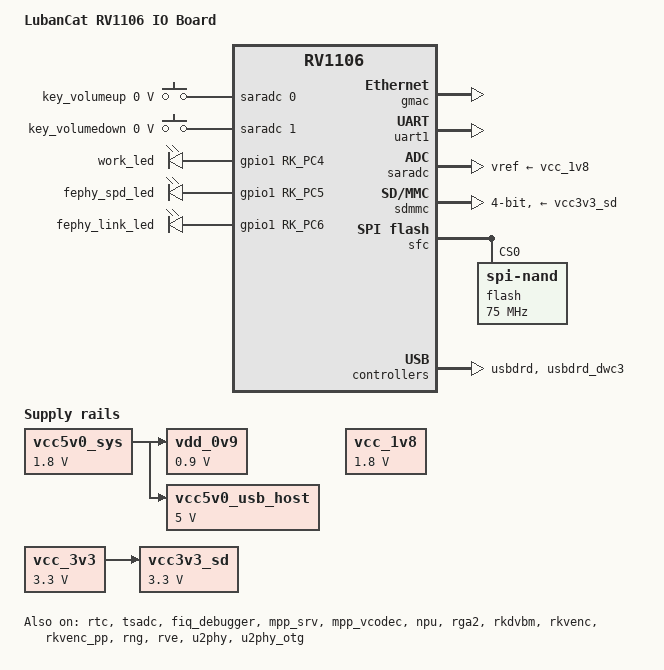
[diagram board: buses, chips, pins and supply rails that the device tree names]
// SPDX-License-Identifier: (GPL-2.0+ OR MIT)
/*
 * Copyright (c) 2022 Rockchip Electronics Co., Ltd.
 */

/dts-v1/;

#include "rv1106.dtsi"

#include <dt-bindings/input/input.h>
#include <dt-bindings/display/media-bus-format.h>

/ {
    model = "LubanCat RV1106 IO Board";
	compatible = "embedfire,rv1106g-lubancat-rv", "rockchip,rv1106";

	chosen {
		bootargs = "earlycon=uart8250,mmio32,0xff4c0000 console=ttyFIQ0 root=/dev/mmcblk0p5 rootfstype=ext4 rootwait snd_soc_core.prealloc_buffer_size_kbytes=16 coherent_pool=0 net.ifnames=0 biosdevname=0";
	};

	/*//NEW
	panel: panel {
		compatible = "simple-panel";
		status = "okay";

		bus-format = <MEDIA_BUS_FMT_RGB666_1X18>;
		width-mm = <85>;
		height-mm = <85>;

		display-timings {
			native-mode = <&timing0>;

			timing0: timing0 {
				clock-frequency = <30000000>;
				hactive = <720>;
				vactive = <720>;
				hback-porch = <44>;
				hfront-porch = <46>;
				vback-porch = <18>;
				vfront-porch = <16>;
				hsync-len = <2>;
				vsync-len = <2>;
				hsync-active = <0>;
				vsync-active = <0>;
				de-active = <0>;
				pixelclk-active = <0>;
			};
		};

		port {
			panel_in_rgb: endpoint {
				remote-endpoint = <&rgb_out_panel>;
			};
		};
	};

	reserved_memory: reserved-memory {
		status = "okay";
		#address-cells = <1>;
		#size-cells = <1>;
		ranges;
		drm_logo: drm-logo@00000000 {
			compatible = "rockchip,drm-logo";
			reg = <0x0 0x0>;
		};
		linux,cma {
			status = "okay";
			compatible = "shared-dma-pool";
			inactive;
			reusable;
			size = <0xA00000>; //10M
			linux,cma-default;
		};
		mmc_ecsd: mmc@3f000 {
			reg = <0x3f000 0x00001000>;
		};
	};*/

	//OLD
	/*acodec_sound: acodec-sound {
		compatible = "simple-audio-card";
		simple-audio-card,name = "rv1106-acodec";
		simple-audio-card,format = "i2s";
		simple-audio-card,mclk-fs = <256>;
		simple-audio-card,cpu {
			sound-dai = <&i2s0_8ch>;
		};
		simple-audio-card,codec {
			sound-dai = <&acodec>;
		};
	};*/

	/* new
	dsm_sound: dsm-sound {
		status = "disabled";
		compatible = "simple-audio-card";
		simple-audio-card,format = "i2s";
		simple-audio-card,mclk-fs = <256>;
		simple-audio-card,name = "rockchip,dsm-sound";
		simple-audio-card,bitclock-master = <&sndcodec>;
		simple-audio-card,frame-master = <&sndcodec>;
		sndcpu: simple-audio-card,cpu {
			sound-dai = <&i2s0_8ch>;
		};
		sndcodec: simple-audio-card,codec {
			sound-dai = <&dsm>;
		};
	};
	*/

	restart-poweroff {
		compatible = "restart-poweroff";
	};

/*
//NEW
	sdio_pwrseq: sdio-pwrseq {
		compatible = "mmc-pwrseq-simple";
		pinctrl-names = "default";
		reset-gpios = <&gpio1 RK_PA2 GPIO_ACTIVE_LOW>;
	};

	wireless_bluetooth: wireless-bluetooth {
		compatible = "bluetooth-platdata";
		uart_rts_gpios = <&gpio0 RK_PA5 GPIO_ACTIVE_LOW>;
		pinctrl-names = "default", "rts_gpio";
		pinctrl-0 = <&uart1m0_rtsn>;
		pinctrl-1 = <&uart1_gpios>;
		BT,wake_gpio     = <&gpio0 RK_PA2 GPIO_ACTIVE_HIGH>;
		BT,wake_host_irq = <&gpio1 RK_PA2 GPIO_ACTIVE_HIGH>;
		status = "okay";
	};
*/
//FIXME:
	recovery-key {
		compatible = "adc-keys";
		io-channels = <&saradc 0>;
		io-channel-names = "buttons";
		poll-interval = <100>;
		keyup-threshold-microvolt = <1800000>;

		key {
			label = "key_volumeup";
			linux,code = <KEY_VOLUMEUP>;
			press-threshold-microvolt = <0>;
		};
	};

	adc-key {
		compatible = "adc-keys";
		io-channels = <&saradc 1>;
		io-channel-names = "buttons";
		poll-interval = <100>;
		keyup-threshold-microvolt = <1800000>;

		key {
			label = "key_volumedown";
			linux,code = <KEY_VOLUMEDOWN>;
			press-threshold-microvolt = <0>;
		};
	};
//

	leds: leds {
		status = "okay";
		compatible = "gpio-leds";

		work_led: work{//new
			label = "work_led"; //my
			linux,default-trigger = "activity";
			default-state = "on";
			gpios = <&gpio1 RK_PC4 GPIO_ACTIVE_HIGH>; //green
		};

		/*sys_led: sys-led {
			label = "sys_led"; 
			linux,default-trigger = "heartbeat";
			default-state = "on";
			//gpios = <&gpio5 4 GPIO_ACTIVE_HIGH>;
			gpios = <&gpio1 RK_PC3 GPIO_ACTIVE_HIGH>; //orange
		};*/

		fephy_spd_led: fephy-spd-led {
			label = "fephy_spd_led";
			linux,default-trigger = "netdev";
			default-state = "off";
			//gpios = <&gpio3 RK_PC5 GPIO_ACTIVE_HIGH>;
			gpios = <&gpio1 RK_PC5 GPIO_ACTIVE_HIGH>;
		};

		fephy_link_led: fephy-link-led {
			label = "fephy_link_led";
			linux,default-trigger = "netdev";
			default-state = "off";
			//gpios = <&gpio3 RK_PD3 GPIO_ACTIVE_HIGH>;
			gpios = <&gpio1 RK_PC6 GPIO_ACTIVE_HIGH>;
		};
	};

	//NEW
	/*
	leds: leds {
		compatible = "gpio-leds";
		work_led: work{
			gpios = <&gpio3 RK_PC6 GPIO_ACTIVE_HIGH>;
			linux,default-trigger = "activity";
			default-state = "on";
		};
	};*/

	/*backlight: backlight {
		status = "okay";
		compatible = "pwm-backlight";
		pwms = <&pwm0 0 50000 0>;
		brightness-levels = <
			  0   1   2   3   4   5   6   7
			  8   9  10  11  12  13  14  15
			 16  17  18  19  20  21  22  23
			 24  25  26  27  28  29  30  31
			 32  33  34  35  36  37  38  39
			 40  41  42  43  44  45  46  47
			 48  49  50  51  52  53  54  55
			 56  57  58  59  60  61  62  63
			 64  65  66  67  68  69  70  71
			 72  73  74  75  76  77  78  79
			 80  81  82  83  84  85  86  87
			 88  89  90  91  92  93  94  95
			 96  97  98  99 100 101 102 103
			104 105 106 107 108 109 110 111
			112 113 114 115 116 117 118 119
			120 121 122 123 124 125 126 127
			128 129 130 131 132 133 134 135
			136 137 138 139 140 141 142 143
			144 145 146 147 148 149 150 151
			152 153 154 155 156 157 158 159
			160 161 162 163 164 165 166 167
			168 169 170 171 172 173 174 175
			176 177 178 179 180 181 182 183
			184 185 186 187 188 189 190 191
			192 193 194 195 196 197 198 199
			200 201 202 203 204 205 206 207
			208 209 210 211 212 213 214 215
			216 217 218 219 220 221 222 223
			224 225 226 227 228 229 230 231
			232 233 234 235 236 237 238 239
			240 241 242 243 244 245 246 247
			248 249 250 251 252 253 254 255>;
		default-brightness-level = <255>;
	};*/

	/*reserved-memory {
		#address-cells = <1>;
		#size-cells = <1>;
		ranges;

		linux,cma {
			compatible = "shared-dma-pool";
			inactive;
			reusable;
			size = <0x1000000>;
			linux,cma-default;
		};

		drm_logo: drm-logo@00000000 {
			compatible = "rockchip,drm-logo";
			reg = <0x0 0x0>;
		};
	};*/

	vdd_0v9: vdd-0v9 {
		compatible = "regulator-fixed";
		regulator-name = "vdd_0v9";
		regulator-always-on;
		regulator-boot-on;
		regulator-min-microvolt = <900000>;
		regulator-max-microvolt = <900000>;
		vin-supply = <&vcc5v0_sys>;
	};

	vcc5v0_sys: vcc5v0-sys {
		compatible = "regulator-fixed";
		regulator-name = "vcc5v0_sys";
		regulator-always-on;
		regulator-boot-on;
		regulator-min-microvolt = <1800000>;
		regulator-max-microvolt = <1800000>;
	};

	vcc_1v8: vcc-1v8 {
		compatible = "regulator-fixed";
		regulator-name = "vcc_1v8";
		regulator-always-on;
		regulator-boot-on;
		regulator-min-microvolt = <1800000>;
		regulator-max-microvolt = <1800000>;
	};

	vcc_3v3: vcc-3v3 {
		compatible = "regulator-fixed";
		regulator-name = "vcc_3v3";
		regulator-always-on;
		regulator-boot-on;
		regulator-min-microvolt = <3300000>;
		regulator-max-microvolt = <3300000>;
	};

	vcc3v3_sd: vcc3v3-sd {
		compatible = "regulator-fixed";
		regulator-name = "vcc3v3_sd";
		regulator-always-on;
		regulator-boot-on;
		regulator-min-microvolt = <3300000>;
		regulator-max-microvolt = <3300000>;
		vin-supply = <&vcc_3v3>;
	};

	vcc5v0_usb_host: vcc5v0-usb-host {
		compatible = "regulator-fixed";
		regulator-name = "vcc5v0_usb_host";
		regulator-always-on;
		enable-active-high;
		regulator-boot-on;
		regulator-min-microvolt = <5000000>;
		regulator-max-microvolt = <5000000>;
		//gpio = <&gpio5 6 GPIO_ACTIVE_HIGH>;OLD
		vin-supply = <&vcc5v0_sys>;
	};

	/*vcc_lcd: vcc-lcd {
		compatible = "regulator-fixed";
		regulator-name = "vcc_lcd";
		regulator-always-on;
		enable-active-high;
		regulator-boot-on;
		regulator-min-microvolt = <5000000>;
		regulator-max-microvolt = <5000000>;
		gpio = <&gpio0 RK_PA6 GPIO_ACTIVE_HIGH>;
		vin-supply = <&vcc5v0_sys>;
	};*/

	/*vcc_cam0: vcc-cam0 {
		compatible = "regulator-fixed";
		regulator-name = "vcc_cam0";
		regulator-always-on;
		enable-active-high;
		regulator-boot-on;
		regulator-min-microvolt = <5000000>;
		regulator-max-microvolt = <5000000>;
		gpio = <&gpio3 RK_PC4 GPIO_ACTIVE_HIGH>;
		vin-supply = <&vcc5v0_sys>;
	};

	vcc_cam1: vcc-cam1 {
		compatible = "regulator-fixed";
		regulator-name = "vcc_cam1";
		regulator-always-on;
		enable-active-high;
		regulator-boot-on;
		regulator-min-microvolt = <5000000>;
		regulator-max-microvolt = <5000000>;
		gpio = <&gpio3 RK_PC6 GPIO_ACTIVE_HIGH>;
		vin-supply = <&vcc5v0_sys>;
	};	*/

	/*wifi_usb: wifi-usb {
		compatible = "regulator-fixed";
		regulator-name = "wifi_usb";
		regulator-always-on;
		enable-active-low;
		regulator-min-microvolt = <3300000>;
		regulator-max-microvolt = <3300000>;	
		gpio = <&gpio5 5 GPIO_ACTIVE_LOW>;
	};*/

	/*wireless_wlan: wireless-wlan {
		compatible = "wlan-platdata";
		wifi_chip_type = "AIC8800DC";
		status = "okay";
	};*/

};

/**********CRU**********/
//new
//&cru {
//	assigned-clocks =
//		<&cru PLL_GPLL>, <&cru PLL_CPLL>,
//		<&cru ARMCLK>,
//		<&cru ACLK_PERI_ROOT>, <&cru HCLK_PERI_ROOT>,
//		<&cru PCLK_PERI_ROOT>, <&cru ACLK_BUS_ROOT>,
//		<&cru PCLK_TOP_ROOT>, <&cru PCLK_PMU_ROOT>,
//		<&cru HCLK_PMU_ROOT>, <&cru CLK_500M_SRC>;
//	assigned-clock-rates =
//		<1188000000>, <700000000>,
//		<1104000000>,
//		<400000000>, <200000000>,
//		<100000000>, <300000000>,
//		<100000000>, <100000000>,
//		<200000000>, <700000000>;
//};


/**********EMMC**********/
//NEW
/*&emmc {
	bus-width = <8>;
	cap-mmc-highspeed;
	non-removable;
	// mmc-hs200-1_8v;
	rockchip,default-sample-phase = <90>;
	no-sdio;
	no-sd;
	memory-region-ecsd = <&mmc_ecsd>;
	post-power-on-delay-ms = <0>;
	status = "okay";
};

&fiq_debugger {
	rockchip,irq-mode-enable = <1>;
	status = "okay";
};
*/


/***************************** audio ********************************/
/*OLD
&i2s0_8ch {
	#sound-dai-cells = <0>;
	status = "okay";
};


&acodec {
	#sound-dai-cells = <0>;
	pa-ctl-gpios = <&gpio5 7 GPIO_ACTIVE_LOW>;
	// pa-ctl-gpios = <&gpio0 RK_PA0 GPIO_ACTIVE_HIGH>; new
	status = "okay";
};*/



&cpu0 {
	cpu-supply = <&vdd_0v9>;
	//cpu-supply = <&vdd_arm>; new
};

&gmac {
	status = "okay";
};

/*&uart3 {
	status = "okay";
	pinctrl-names = "default";
	pinctrl-0 = <&uart3m0_xfer>;
	//pinctrl-0 = <&uart3m0_xfer &uart3m1_xfer>;
};*/


/*&spi1 {
	status = "okay";
	status = "okay";
	#address-cells = <1>;
	#size-cells = <0>;
	// SPI gpio模拟多个cs信号 
	pinctrl-names = "default";
	pinctrl-0 = <&spi1m0_cs0 &spi1m0_pins>;
	cs-gpios = <&gpio4 RK_PA4 GPIO_ACTIVE_LOW>, <&gpio5 9 GPIO_ACTIVE_LOW>;

	spi_dev@0 {
		compatible = "rockchip,spidev";
		reg = <0>; //chip select 0:cs0  1:cs1
		spi-max-frequency = <24000000>; //spi output clock
	};

	spi_dev@1 {
		compatible = "rockchip,spidev";
		reg = <1>;
		spi-max-frequency = <24000000>;
	};
};*/

&rmii_phy {
	bgs,increment = <0>;
};

&rtc {
	status = "okay";
};

/**********BT**********/
//new
&uart1 {
	status = "okay";
	pinctrl-names = "default";
	pinctrl-0 = <&uart1m0_xfer &uart1m0_ctsn>;
	//pinctrl-0 = <&uart1m1_xfer>;
};
&pinctrl {
	wireless-bluetooth {
		uart1_gpios: uart1-gpios {
			rockchip,pins = <0 RK_PA5 RK_FUNC_GPIO &pcfg_pull_none>;
		};
	};
};

/***************************** ADC ********************************/
&saradc {
	status = "okay";
	vref-supply = <&vcc_1v8>;
};

&tsadc {
	status = "okay";
};


/**********SDCARD**********/
&sdmmc {

	max-frequency = <200000000>;
	no-sdio;
	no-mmc;
	bus-width = <4>;
	cap-mmc-highspeed;
	cap-sd-highspeed;
	disable-wp;
	pinctrl-names = "normal", "idle";
	pinctrl-0 = <&sdmmc0_clk &sdmmc0_cmd &sdmmc0_det &sdmmc0_bus4>;
	pinctrl-1 = <&sdmmc0_idle_pins &sdmmc0_det>;
	vmmc-supply = <&vcc3v3_sd>;
	status = "okay";
};


/**********SDIO-WIFI**********/
//NEW
//FIXME: USE SDIO
/*&sdmmc {
	max-frequency = <50000000>;
	bus-width = <4>;
	cap-sd-highspeed;
	cap-sdio-irq;
	keep-power-in-suspend;
	non-removable;
	rockchip,default-sample-phase = <90>;
	// no-sd;
	// no-mmc;
	supports-sdio;
	mmc-pwrseq = <&sdio_pwrseq>;
	pinctrl-names = "default";
	pinctrl-0 = <&sdmmc0_clk &sdmmc0_cmd &sdmmc0_bus4 &sdmmc0_det>;
	status = "okay";
};

&pinctrl{
	sdmmc0{
		sdmmc0_det: sdmmc0-det {
			rockchip,pins =
				// sdmmc0_det 
				<3 RK_PA1 1 &pcfg_pull_down>;
		};
	};
};
*/

&sfc {
	status = "okay";

	flash@0 {
		compatible = "spi-nand";
		reg = <0>;
		spi-max-frequency = <75000000>;
		spi-rx-bus-width = <4>;
		spi-tx-bus-width = <1>;
	};
};

/************************* FIQ_DUBUGGER ****************************/
&fiq_debugger {
	rockchip,irq-mode-enable = <1>;
	status = "okay";
};

&mpp_srv {
	status = "okay";
};

&mpp_vcodec {
	status = "okay";
};

&npu {
//	assigned-clock-rates = <700000000>;	
	status = "okay";
};

&rga2 {
	status = "okay";
};

&rkdvbm {
	status = "okay";
};

&rkvenc {
	status = "okay";
};

&rkvenc_pp {
	status = "okay";
};

&rng {
	status = "okay";
};

&rve {
	status = "okay";
};


/***************************** USB *********************************/
&u2phy {
	status = "okay";
};

&u2phy_otg {
	status = "okay";
};

&usbdrd {
	status = "okay";
};

&usbdrd_dwc3 {
	extcon = <&u2phy>;
	status = "okay";
	//dr_mode = "otg";//OLD
};


/**********USB**********/
//new
/*&usbdrd_dwc3 {
	status = "okay";
	dr_mode = "peripheral";
	//dr_mode = "host";
};*/

/**********SPI**********/
/*&spi0 {
	pinctrl-0 = <&spi0m0_clk &spi0m0_miso &spi0m0_mosi &spi0m0_cs0>;
	status = "disabled";
	#address-cells = <1>;
	#size-cells = <0>;
	spidev@0 {
		compatible = "rockchip,spidev";
		spi-max-frequency = <50000000>;
		reg = <0>;
	};
};*/

/**************************** LCD/TP ******************************/
/*
//new
&pwm1 {
	status = "okay";
	pinctrl-names = "active";
	pinctrl-0 = <&pwm1m2_pins>;
};


&i2c3 {
	status = "okay";
	clock-frequency = <100000>;
	GT911:touchscreen {
		compatible = "goodix,gt911";
		reg = <0x14>;

		interrupt-parent = <&gpio0>;
		interrupts = <RK_PA3 IRQ_TYPE_EDGE_FALLING>;

		reset-gpios = <&gpio0 RK_PA4 GPIO_ACTIVE_LOW>;
		pinctrl-names = "default";
	};
};
//


//OLD

&i2c3 {
    status = "okay";
    clock-frequency = <400000>;
    pinctrl-names = "default";
	//pinctrl-names = "default", "config";
    pinctrl-0 = <&i2c3m2_xfer>;
	//pinctrl-1 = <&i2c3m0_xfer &i2c3m1_xfer>;
	#address-cells = <1>;
	#size-cells = <0>;

	gpio5: gpio-expander@21 {
		compatible = "nxp,pca9535";
		status = "okay";
		reg = <0x21>;
		gpio-controller;
		#gpio-cells = <2>;
		//  = <&gpio5 0 GPIO_ACTIVE_LOW>;
		pinctrl-names = "default";
		pinctrl-0 = <&pinctrl_pca9535>;
		interrupt-parent = <&gpio0>;
		interrupts = <RK_PA3 GPIO_ACTIVE_LOW>;
		interrupt-controller;
		#interrupt-cells = <2>;
	};
};
///


&display_subsystem {
	status = "okay";
	logo-memory-region = <&drm_logo>;
};

&rgb {
	status = "okay";
	pinctrl-names = "default";
	pinctrl-0 = <&lcd_pins>;

	ports {
		rgb_out: port@1 {
			reg = <1>;
			#address-cells = <1>;
			#size-cells = <0>;

            rgb_out_panel: endpoint@0 {
                reg = <0>;
                remote-endpoint = <&panel_in_rgb>;
            };
		};
	};
};

&rgb_in_vop {
	status = "okay";
};

&route_rgb {
    status = "disabled";
};

&vop {
	status = "okay";
};

&pinctrl {
	io-expand {
		pinctrl_pca9535: pinctrl-pca9535 {
			rockchip,pins = <0 RK_PA3 RK_FUNC_GPIO &pcfg_pull_none>;
		};
	};
};
*/

/***************************** DSM *********************************/
&dsm {
	status = "disabled";
};

/*************************** CSI *********************************/
//new
/*&csi2_dphy_hw {
	status = "okay";
};

&csi2_dphy0 {
	status = "okay";

	ports {
		#address-cells = <1>;
		#size-cells = <0>;

		port@0 {
			reg = <0>;
			#address-cells = <1>;
			#size-cells = <0>;

			csi_dphy_input0: endpoint@0 {
				reg = <0>;
				remote-endpoint = <&sc3336_out>;
				data-lanes = <1 2>;
			};

			csi_dphy_input1: endpoint@1 {
				reg = <1>;
				remote-endpoint = <&mis5001_out>;
				data-lanes = <1 2>;
			};
		};

		port@1 {
			reg = <1>;
			#address-cells = <1>;
			#size-cells = <0>;

			csi_dphy_output: endpoint@0 {
				reg = <0>;
				remote-endpoint = <&mipi_csi2_input>;
			};
		};
	};
};

&i2c4 {
	status = "okay";
	clock-frequency = <400000>;
	pinctrl-names = "default";
	//pinctrl-names = "default", "config";
	pinctrl-0 = <&i2c4m2_xfer>;
	// pinctrl-1 = <&i2c4m0_xfer &i2c4m1_xfer>;

	sc3336: sc3336@30 {
		compatible = "smartsens,sc3336";
		status = "okay";
		reg = <0x30>;
		clocks = <&cru MCLK_REF_MIPI0>;
		clock-names = "xvclk";
		reset-gpios = <&gpio3 RK_PC5 GPIO_ACTIVE_HIGH>;
		pinctrl-names = "default";
		pinctrl-0 = <&mipi_refclk_out0>;
		rockchip,camera-module-index = <0>;
		rockchip,camera-module-facing = "back";
		rockchip,camera-module-name = "CMK-OT2119-PC1";
		rockchip,camera-module-lens-name = "30IRC-F16";
		port {
			sc3336_out: endpoint {
				remote-endpoint = <&csi_dphy_input0>;
				data-lanes = <1 2>;
			};
		};
	};

	mis5001: mis5001@31 {
		compatible = "imagedesign,mis5001";
		status = "okay";
		reg = <0x31>;
		clocks = <&cru MCLK_REF_MIPI0>;
		clock-names = "xvclk";
		reset-gpios = <&gpio3 RK_PC5 GPIO_ACTIVE_HIGH>;
		pinctrl-names = "default";
		pinctrl-0 = <&mipi_refclk_out0>;
		rockchip,camera-module-index = <0>;
		rockchip,camera-module-facing = "back";
		rockchip,camera-module-name = "CMK-OT2115-PC1";
		rockchip,camera-module-lens-name = "30IRC-F16";
		port {
			mis5001_out: endpoint {
				remote-endpoint = <&csi_dphy_input1>;
				data-lanes = <1 2>;
			};
		};
	};
};

&mipi0_csi2 {
	status = "okay";

	ports {
		#address-cells = <1>;
		#size-cells = <0>;

		port@0 {
			reg = <0>;
			#address-cells = <1>;
			#size-cells = <0>;

			mipi_csi2_input: endpoint@1 {
				reg = <1>;
				remote-endpoint = <&csi_dphy_output>;
			};
		};

		port@1 {
			reg = <1>;
			#address-cells = <1>;
			#size-cells = <0>;

			mipi_csi2_output: endpoint@0 {
				reg = <0>;
				remote-endpoint = <&cif_mipi_in>;
			};
		};
	};
};

&rkcif {
	status = "okay";
};

&rkcif_mipi_lvds {
	status = "okay";

	pinctrl-names = "default";
	pinctrl-0 = <&mipi_pins>;
	port {
		// MIPI CSI-2 endpoint 
		cif_mipi_in: endpoint {
			remote-endpoint = <&mipi_csi2_output>;
		};
	};
};

&rkcif_mipi_lvds_sditf {
	status = "okay";

	port {
		// MIPI CSI-2 endpoint 
		mipi_lvds_sditf: endpoint {
			remote-endpoint = <&isp_in>;
		};
	};
};

&rkisp {
	status = "okay";
};

&rkisp_vir0 {
	status = "okay";

	port@0 {
		isp_in: endpoint {
			remote-endpoint = <&mipi_lvds_sditf>;
		};
	};
};
*/

/**************************** PINCTRL ******************************/

// I2C
&i2c1 {
	pinctrl-0 = <&i2c1m1_xfer>;
};
&i2c2 {
	pinctrl-0 = <&i2c2m0_xfer>;
};

// UART
&uart4 {
	pinctrl-0 = <&uart4m0_xfer &uart4m1_xfer>;
};
&uart5 {
	pinctrl-0 = <&uart5m1_xfer>;
};

// PWM
&pwm0 {
	//status = "okay";
	pinctrl-0 = <&pwm0m1_pins>;
};
&pwm2 {
	pinctrl-0 = <&pwm2m1_pins &pwm2m2_pins>;
};
&pwm3 {
	pinctrl-0 = <&pwm3m1_pins &pwm3m2_pins>;
};
&pwm4 {
	pinctrl-0 = <&pwm4m0_pins &pwm4m1_pins &pwm4m2_pins>;
};
&pwm5 {
	pinctrl-0 = <&pwm5m1_pins &pwm5m2_pins>;
};
&pwm6 {
	pinctrl-0 = <&pwm6m1_pins &pwm6m2_pins>;
};
&pwm7 {
	//status = "okay";
	//pinctrl-names = "active";
	pinctrl-0 = <&pwm7m0_pins &pwm7m1_pins>;
};
&pwm8 {
	pinctrl-0 = <&pwm8m1_pins>;
};
&pwm9 {
	pinctrl-0 = <&pwm9m1_pins>;
};
&pwm10 {
	pinctrl-0 = <&pwm10m1_pins &pwm10m2_pins>;
};
&pwm11 {
	pinctrl-0 = <&pwm11m1_pins &pwm11m2_pins>;
};

&pinctrl {
	spi0 {
		spi0m0_clk: spi0m0-clk {
			rockchip,pins = <1 RK_PC1 4 &pcfg_pull_none>;
		};
		spi0m0_mosi: spi0m0-mosi {
			rockchip,pins = <1 RK_PC2 6 &pcfg_pull_none>;
		};
		spi0m0_miso: spi0m0-miso {
			rockchip,pins = <1 RK_PC3 6 &pcfg_pull_none>;
		};
		spi0m0_cs0: spi0m0-cs0 {
			rockchip,pins = <1 RK_PC0 4 &pcfg_pull_none>;
		};
	};

	touchscreen {
		tp_rst: tp-rst {
			rockchip,pins = <0 RK_PA4 RK_FUNC_GPIO &pcfg_pull_up>;
		};

		tp_irq: tp-irq {
			rockchip,pins = <0 RK_PA3 RK_FUNC_GPIO &pcfg_pull_none>;
		};
	};
};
